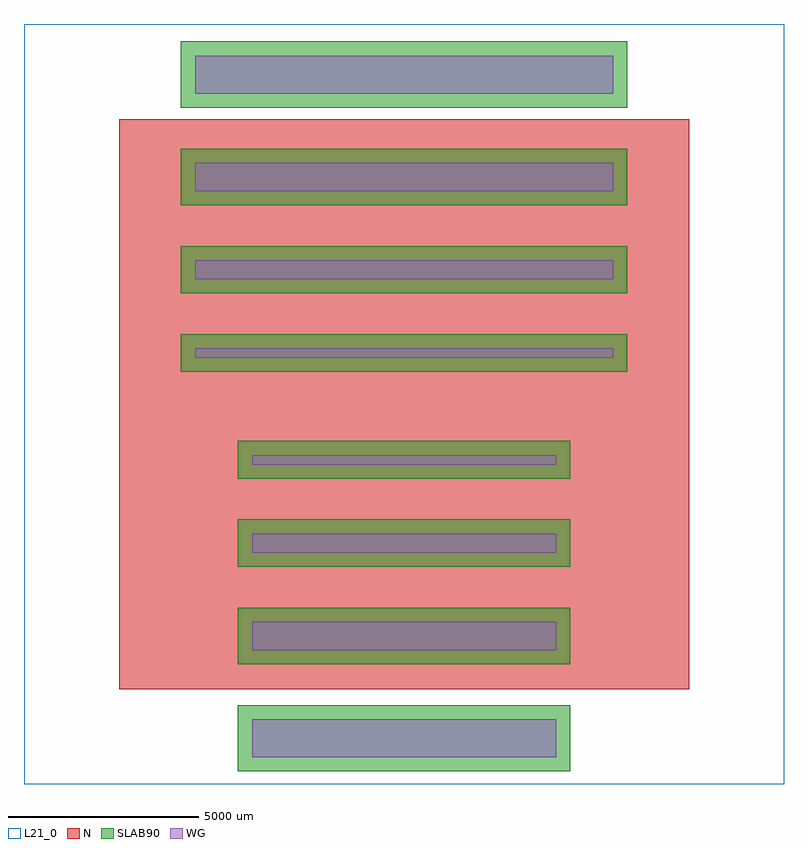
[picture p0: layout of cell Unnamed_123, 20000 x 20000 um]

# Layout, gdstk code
import gdstk
lib = gdstk.Library(unit=1e-6, precision=1e-09)
def R(c, l, rs):  # rectangles x0, y0, x1, y1
    for r in rs: c.add(gdstk.rectangle(r[:2], r[2:], *l))
WG = (1, 0)
SLAB90 = (3, 0)
N = (20, 0)
L21_0 = (21, 0)

rectangle_s8742p34_1742_ = lib.new_cell('rectangle_S8742p34_1742_92dfabc6')
R(rectangle_s8742p34_1742_, SLAB90, [(0,0,8742.34,1742.34)])

rectangle_s8742p34_1242_ = lib.new_cell('rectangle_S8742p34_1242_e0d1e8f0')
R(rectangle_s8742p34_1242_, SLAB90, [(0,0,8742.34,1242.34)])

rectangle_s8000_1000_l1_ = lib.new_cell('rectangle_S8000_1000_L1_a64188b1')
R(rectangle_s8000_1000_l1_, WG, [(0,0,8000,1000)])

rectangle_s8000_500_l1__ = lib.new_cell('rectangle_S8000_500_L1__00e8b23c')
R(rectangle_s8000_500_l1__, WG, [(0,0,8000,500)])

rectangle_s11000_1000_l_ = lib.new_cell('rectangle_S11000_1000_L_7d1c9873')
R(rectangle_s11000_1000_l_, WG, [(0,0,11000,1000)])

rectangle_s8000_250_l1__ = lib.new_cell('rectangle_S8000_250_L1__23d4cd1b')
R(rectangle_s8000_250_l1__, WG, [(0,0,8000,250)])

rectangle_s11742p34_174_ = lib.new_cell('rectangle_S11742p34_174_d1575f04')
R(rectangle_s11742p34_174_, SLAB90, [(0,0,11742.34,1742.34)])

rectangle_s8742p34_1492_ = lib.new_cell('rectangle_S8742p34_1492_6d0cd754')
R(rectangle_s8742p34_1492_, SLAB90, [(0,0,8742.34,1492.34)])

rectangle_s11000_750_l1_ = lib.new_cell('rectangle_S11000_750_L1_4aeca8e6')
R(rectangle_s11000_750_l1_, WG, [(0,0,11000,750)])

rectangle_s11742p34_124_ = lib.new_cell('rectangle_S11742p34_124_35634cfc')
R(rectangle_s11742p34_124_, SLAB90, [(0,0,11742.34,1242.34)])

rectangle_s11000_500_l1_ = lib.new_cell('rectangle_S11000_500_L1_e8eac09b')
R(rectangle_s11000_500_l1_, WG, [(0,0,11000,500)])

rectangle_s8742p34_992p_ = lib.new_cell('rectangle_S8742p34_992p_10c30f7c')
R(rectangle_s8742p34_992p_, SLAB90, [(0,0,8742.34,992.34)])

rectangle_s11000_250_l1_ = lib.new_cell('rectangle_S11000_250_L1_35af61c5')
R(rectangle_s11000_250_l1_, WG, [(0,0,11000,250)])

rectangle_s8000_750_l1__ = lib.new_cell('rectangle_S8000_750_L1__7cb8aa79')
R(rectangle_s8000_750_l1__, WG, [(0,0,8000,750)])

rectangle_s11742p34_992_ = lib.new_cell('rectangle_S11742p34_992_5e8ff1e2')
R(rectangle_s11742p34_992_, SLAB90, [(0,0,11742.34,992.34)])

rectangle_s20000_20000__ = lib.new_cell('rectangle_S20000_20000__aa48e1ac')
R(rectangle_s20000_20000__, L21_0, [(0,0,20000,20000)])

rectangle_s11742p34_149_ = lib.new_cell('rectangle_S11742p34_149_befed679')
R(rectangle_s11742p34_149_, SLAB90, [(0,0,11742.34,1492.34)])

rectangle_s15000_15000__ = lib.new_cell('rectangle_S15000_15000__6a6c2047')
R(rectangle_s15000_15000__, N, [(0,0,15000,15000)])

unnamed_123 = lib.new_cell('Unnamed_123')
unnamed_123.add(gdstk.Reference(rectangle_s8742p34_1742_, (-4371.17,-9665.53)))
unnamed_123.add(gdstk.Reference(rectangle_s8742p34_1242_, (-4371.17,-4280.85)))
unnamed_123.add(gdstk.Reference(rectangle_s8000_1000_l1_, (-4000,-9294.36)))
unnamed_123.add(gdstk.Reference(rectangle_s8000_500_l1__, (-4000,-3909.68)))
unnamed_123.add(gdstk.Reference(rectangle_s11000_1000_l_, (-5500,8169.36)))
unnamed_123.add(gdstk.Reference(rectangle_s8000_250_l1__, (-4000,-1592.34)))
unnamed_123.add(gdstk.Reference(rectangle_s11742p34_174_, (-5871.17,7798.19)))
unnamed_123.add(gdstk.Reference(rectangle_s8742p34_1492_, (-4371.17,-6848.19)))
unnamed_123.add(gdstk.Reference(rectangle_s11000_750_l1_, (-5500,5602.02)))
unnamed_123.add(gdstk.Reference(rectangle_s11742p34_124_, (-5871.17,2913.51)))
unnamed_123.add(gdstk.Reference(rectangle_s11000_500_l1_, (-5500,3284.68)))
unnamed_123.add(gdstk.Reference(rectangle_s8742p34_992p_, (-4371.17,-1963.51)))
unnamed_123.add(gdstk.Reference(rectangle_s11000_250_l1_, (-5500,1217.34)))
unnamed_123.add(gdstk.Reference(rectangle_s8000_750_l1__, (-4000,-6477.02)))
unnamed_123.add(gdstk.Reference(rectangle_s11742p34_992_, (-5871.17,846.17)))
unnamed_123.add(gdstk.Reference(rectangle_s20000_20000__, (-10000,-10000)))
unnamed_123.add(gdstk.Reference(rectangle_s11742p34_149_, (-5871.17,5230.85)))
unnamed_123.add(gdstk.Reference(rectangle_s15000_15000__, (-7500,-7500)))

lib.write_gds('Unnamed_123.gds')
